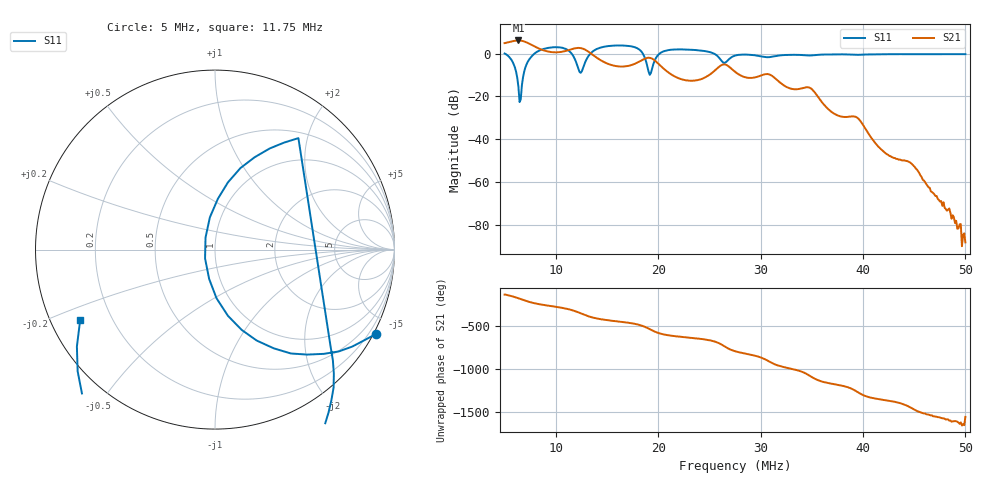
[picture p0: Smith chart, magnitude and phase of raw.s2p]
! S11/S21 only; reverse parameters are placeholders. Device calibration unverified.
! NanoVNA F V2 profile | COM3 | 2026-09-08T11:51:29.4406317-04:00 | device calibration unverified
# HZ S RI R 50
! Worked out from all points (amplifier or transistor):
!   401 points, 5 MHz to 50 MHz, reference 50 ohm
!   highest |S21| = 6.2 dB at 6.35 MHz (marker M1)
!   |S21| within 3 dB of that: start of sweep to 8.003 MHz
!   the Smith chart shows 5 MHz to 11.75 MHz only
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5000000  0.8972 -0.4696  -1.311 -1.188  0 0  0 0
6350000  -0.0326 -0.1635  -2.045 0.0476  0 0  0 0
7250000  0.3047 0.5634  -1.415 1.101  0 0  0 0
7812500  0.6622 -0.6917  -0.8607 1.265  0 0  0 0
1.0175e7  -0.1032 -1.416  0.2458 1.053  0 0  0 0
1.16375e7  -0.7695 -0.54  1.005 0.8157  0 0  0 0
1.25375e7  0.0574 0.382  1.337 -0.0265  0 0  0 0
1.3325e7  0.9711 0.0848  0.8598 -0.6119  0 0  0 0
1.41125e7  1.245 -0.4491  0.4074 -0.6588  0 0  0 0
1.74875e7  0.5078 -1.379  -0.2158 -0.5112  0 0  0 0
1.8275e7  -0.1359 -1.174  -0.4759 -0.4871  0 0  0 0
1.88375e7  -0.4988 -0.3891  -0.7409 -0.2708  0 0  0 0
1.94e7  0.1004 0.4342  -0.7476 0.1759  0 0  0 0
2.0075e7  0.9272 0.3116  -0.3915 0.4096  0 0  0 0
2.13125e7  1.224 -0.2263  -0.0764 0.3144  0 0  0 0
2.42375e7  0.9843 -0.6504  0.1019 0.2351  0 0  0 0
2.62625e7  0.4922 -0.4268  0.5516 -0.0332  0 0  0 0
2.75e7  0.856 -0.2853  0.0949 -0.3667  0 0  0 0
3.065e7  0.702 -0.4404  -0.3348 0.0159  0 0  0 0
3.50375e7  0.6715 -0.622  0.1384 -0.0454  0 0  0 0
4.2575e7  0.4414 -0.8706  0.00148 0.00379  0 0  0 0
5e7  0.1603 -0.9645  -1.8e-05 -3.4e-05  0 0  0 0
